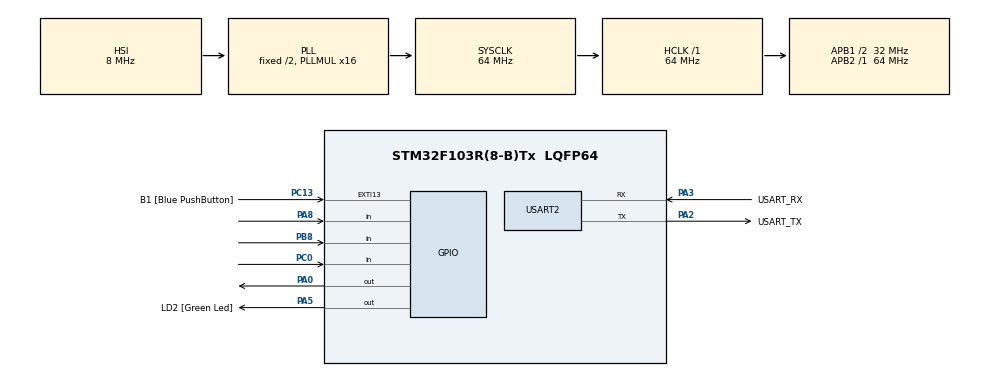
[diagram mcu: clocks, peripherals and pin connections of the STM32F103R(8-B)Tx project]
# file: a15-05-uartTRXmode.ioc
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Mcu.Family=STM32F1
Mcu.Name=STM32F103R(8-B)Tx
Mcu.Package=LQFP64
NVIC.EXTI15_10_IRQn=true\:0\:0\:false\:false\:true\:true\:true
NVIC.PriorityGroup=NVIC_PRIORITYGROUP_4
NVIC.TIM2_IRQn=true\:0\:0\:false\:false\:true\:true\:true
NVIC.TIM3_IRQn=true\:0\:0\:false\:false\:true\:true\:true
PA0-WKUP.Signal=GPIO_Output
PA13.GPIO_Label=TMS
PA13.Mode=Serial_Wire
PA13.Signal=SYS_JTMS-SWDIO
PA14.GPIO_Label=TCK
PA14.Mode=Serial_Wire
PA14.Signal=SYS_JTCK-SWCLK
PA2.GPIO_Label=USART_TX
PA2.GPIO_Mode=GPIO_MODE_AF_PP
PA2.GPIO_PuPd=GPIO_NOPULL
PA2.GPIO_Speed=GPIO_SPEED_FREQ_LOW
PA2.Mode=Asynchronous
PA2.Signal=USART2_TX
PA3.GPIO_Label=USART_RX
PA3.GPIO_Mode=GPIO_MODE_AF_PP
PA3.GPIO_PuPd=GPIO_NOPULL
PA3.GPIO_Speed=GPIO_SPEED_FREQ_LOW
PA3.Mode=Asynchronous
PA3.Signal=USART2_RX
PA5.GPIO_Label=LD2 [Green Led]
PA5.GPIO_ModeDefaultOutputPP=GPIO_MODE_OUTPUT_PP
PA5.GPIO_PuPd=GPIO_NOPULL
PA5.GPIO_Speed=GPIO_SPEED_FREQ_LOW
PA5.Signal=GPIO_Output
PA8.Signal=GPIO_Input
PB3.GPIO_Label=SWO
PB3.Signal=SYS_JTDO-TRACESWO
PB8.Signal=GPIO_Input
PC0.Signal=GPIO_Input
PC13-TAMPER-RTC.GPIO_Label=B1 [Blue PushButton]
PC13-TAMPER-RTC.GPIO_PuPd=GPIO_NOPULL
PC13-TAMPER-RTC.Signal=GPXTI13
PC14-OSC32_IN.Mode=LSE-External-Oscillator
PC14-OSC32_IN.Signal=RCC_OSC32_IN
PC15-OSC32_OUT.Mode=LSE-External-Oscillator
PC15-OSC32_OUT.Signal=RCC_OSC32_OUT
PD0-OSC_IN.Mode=HSE-External-Clock-Source
PD0-OSC_IN.Signal=RCC_OSC_IN
PD1-OSC_OUT.Mode=HSE-External-Clock-Source
PD1-OSC_OUT.Signal=RCC_OSC_OUT
ProjectManager.HeapSize=0x200
ProjectManager.StackSize=0x400
ProjectManager.TargetToolchain=STM32CubeIDE
RCC.AHBFreq_Value=64000000
RCC.APB1CLKDivider=RCC_HCLK_DIV2
RCC.APB1Freq_Value=32000000
RCC.APB1TimFreq_Value=64000000
RCC.APB2Freq_Value=64000000
RCC.APB2TimFreq_Value=64000000
RCC.HCLKFreq_Value=64000000
RCC.PLLMUL=RCC_PLL_MUL16
RCC.RTCClockSelection=RCC_RTCCLKSOURCE_LSE
RCC.SYSCLKFreq_VALUE=64000000
RCC.SYSCLKSource=RCC_SYSCLKSOURCE_PLLCLK
RCC.USBFreq_Value=64000000
TIM2.Period=103
TIM2.Prescaler=63
TIM3.Period=25
TIM3.Prescaler=63
USART2.VirtualMode=VM_ASYNC
VP_TIM2_VS_ClockSourceINT.Mode=Internal
VP_TIM3_VS_ClockSourceINT.Mode=Internal
board=NUCLEO-F103RB

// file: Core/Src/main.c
/* USER CODE BEGIN Header */
/**
  ******************************************************************************
  * @file           : main.c
  * @brief          : Main program body
  ******************************************************************************
  * @attention
  *
  * <h2><center>&copy; Copyright (c) 2022 STMicroelectronics.
  * All rights reserved.</center></h2>
  *
  * This software component is licensed by ST under BSD 3-Clause license,
  * the "License"; You may not use this file except in compliance with the
  * License. You may obtain a copy of the License at:
  *                        opensource.org/licenses/BSD-3-Clause
  *
  ******************************************************************************
  */
/* USER CODE END Header */

#include "main.h"

/* USER CODE BEGIN Includes */

#include "stdio.h"

//stdio 탑재

/* USER CODE END Includes */

/* USER CODE BEGIN PD */

#ifdef __GNUC__
  /* With GCC/RAISONANCE, small printf (option LD Linker->Libraries->Small printf
     set to 'Yes') calls __io_putchar() */
  #define PUTCHAR_PROTOTYPE int __io_putchar(int ch)
#else
  #define PUTCHAR_PROTOTYPE int fputc(int ch, FILE *f)
#endif /* __GNUC__ */
typedef struct ts_rxType{
	char start;
	unsigned char data;
	char parity;
	char stop;
	char error;
} rxType;
//rx 구조체 정의

//알 수 없는 정의 👍👍

/* USER CODE END PD */

TIM_HandleTypeDef htim2;
TIM_HandleTypeDef htim3;

UART_HandleTypeDef huart2;

/* USER CODE BEGIN PV */

//TX 변수
char Uart_Tx_Parity_Mode;
int tim2_cnt;
char tim2_flag;
char tim2_trigger;
char chUartTxData[32];
//TX END

//RX 변수 시작
char Uart_Rx_Parity_Mode;
rxType rxData[32]; //rxdata를 rx구조체로 정의
int rxByte_cnt;
int rxBit_cnt;
int rxBit_value;
int rxSamp_cnt;
int rxParity_bit;
char Uart_Rx_flag;
char Uart_Rx_active;
char Uart_Rx_Temp;
char Uart_Rx_trigger;
char Uart_Rx_data;
char Uart_Rx_parity;
char Uart_Rx_stop;
//RX END

/* USER CODE END PV */

void SystemClock_Config(void);
static void MX_GPIO_Init(void);
static void MX_USART2_UART_Init(void);
static void MX_TIM2_Init(void);
static void MX_TIM3_Init(void);

/* USER CODE BEGIN 0 */

PUTCHAR_PROTOTYPE
{
  /* Place your implementation of fputc here */
  /* e.g. write a character to the EVAL_COM1 and Loop until the end of transmission */
  HAL_UART_Transmit(&huart2, (uint8_t *)&ch, 1, 0xFFFF);

  return ch;
}

void Uart_Tx_Byte(char TxData, char Parity)
{
	char chExit = 'n';
	char chComp = 0x01;
	int ParityBit_cnt = 0;

	tim2_cnt = 0;
	tim2_flag = 'y';
	tim2_trigger = 'n';

	while(1){
		if(('y' == tim2_trigger) && (tim2_cnt == 1)){ // idle
			tim2_trigger = 'n';
			HAL_GPIO_WritePin(GPIOA, GPIO_PIN_0, GPIO_PIN_SET);
		}else if(('y' == tim2_trigger) && (tim2_cnt == 2)){ // start
			tim2_trigger = 'n';
			HAL_GPIO_WritePin(GPIOA, GPIO_PIN_0, GPIO_PIN_RESET);
		}else if(('y' == tim2_trigger) && (tim2_cnt == 3)){ // bit 0
			tim2_trigger = 'n';
			if((TxData & chComp) == chComp){
				HAL_GPIO_WritePin(GPIOA, GPIO_PIN_0, GPIO_PIN_SET);
				ParityBit_cnt += 1;
			}else{
				HAL_GPIO_WritePin(GPIOA, GPIO_PIN_0, GPIO_PIN_RESET);
			}
			chComp <<= 1;
		}else if(('y' == tim2_trigger) && (tim2_cnt == 4)){ // bit 1
			tim2_trigger = 'n';
			if((TxData & chComp) == chComp){
				HAL_GPIO_WritePin(GPIOA, GPIO_PIN_0, GPIO_PIN_SET);
				ParityBit_cnt += 1;
			}else{
				HAL_GPIO_WritePin(GPIOA, GPIO_PIN_0, GPIO_PIN_RESET);
			}
			chComp <<= 1;
		}else if(('y' == tim2_trigger) && (tim2_cnt == 5)){ // bit 2
			tim2_trigger = 'n';
			if((TxData & chComp) == chComp){
				HAL_GPIO_WritePin(GPIOA, GPIO_PIN_0, GPIO_PIN_SET);
				ParityBit_cnt += 1;
			}else{
				HAL_GPIO_WritePin(GPIOA, GPIO_PIN_0, GPIO_PIN_RESET);
			}
			chComp <<= 1;
		}else if(('y' == tim2_trigger) && (tim2_cnt == 6)){ // bit 3
			tim2_trigger = 'n';
			if((TxData & chComp) == chComp){
				HAL_GPIO_WritePin(GPIOA, GPIO_PIN_0, GPIO_PIN_SET);
				ParityBit_cnt += 1;
			}else{
				HAL_GPIO_WritePin(GPIOA, GPIO_PIN_0, GPIO_PIN_RESET);
			}
			chComp <<= 1;
		}else if(('y' == tim2_trigger) && (tim2_cnt == 7)){ // bit 4
			tim2_trigger = 'n';
			if((TxData & chComp) == chComp){
				HAL_GPIO_WritePin(GPIOA, GPIO_PIN_0, GPIO_PIN_SET);
				ParityBit_cnt += 1;
			}else{
				HAL_GPIO_WritePin(GPIOA, GPIO_PIN_0, GPIO_PIN_RESET);
			}
			chComp <<= 1;
		}else if(('y' == tim2_trigger) && (tim2_cnt == 8)){ // bit 5
			tim2_trigger = 'n';
			if((TxData & chComp) == chComp){
				HAL_GPIO_WritePin(GPIOA, GPIO_PIN_0, GPIO_PIN_SET);
				ParityBit_cnt += 1;
			}else{
				HAL_GPIO_WritePin(GPIOA, GPIO_PIN_0, GPIO_PIN_RESET);
			}
			chComp <<= 1;
		}else if(('y' == tim2_trigger) && (tim2_cnt == 9)){ // bit 6
			tim2_trigger = 'n';
			if((TxData & chComp) == chComp){
				HAL_GPIO_WritePin(GPIOA, GPIO_PIN_0, GPIO_PIN_SET);
				ParityBit_cnt += 1;
			}else{
				HAL_GPIO_WritePin(GPIOA, GPIO_PIN_0, GPIO_PIN_RESET);
			}
			chComp <<= 1;
		}else if(('y' == tim2_trigger) && (tim2_cnt == 10)){ // bit 7
			tim2_trigger = 'n';
			if((TxData & chComp) == chComp){
				HAL_GPIO_WritePin(GPIOA, GPIO_PIN_0, GPIO_PIN_SET);
				ParityBit_cnt += 1;
			}else{
				HAL_GPIO_WritePin(GPIOA, GPIO_PIN_0, GPIO_PIN_RESET);
			}
			chComp <<= 1;
		}
		else if(('y' == tim2_trigger) && (tim2_cnt == 11)){ // [parity : none/even/odd] or [stop]
			tim2_trigger = 'n';

			if(Parity == 'n'){
				HAL_GPIO_WritePin(GPIOA, GPIO_PIN_0, GPIO_PIN_SET);
				chExit = 'y';
			}else if(Parity == 'e'){
				if((ParityBit_cnt % 2) == 0){
					HAL_GPIO_WritePin(GPIOA, GPIO_PIN_0, GPIO_PIN_RESET);
				}else{
					HAL_GPIO_WritePin(GPIOA, GPIO_PIN_0, GPIO_PIN_SET);
				}

			}else if(Parity == 'o'){
				if((ParityBit_cnt % 2) == 1){
					HAL_GPIO_WritePin(GPIOA, GPIO_PIN_0, GPIO_PIN_RESET);
				}else{
					HAL_GPIO_WritePin(GPIOA, GPIO_PIN_0, GPIO_PIN_SET);
				}
			}

			//----- 이 부분부터 수정 및 추가 필요 ------------------------------------------
			//----- parity bit & stop bit 전송부분 추가 -------------------------------------

		}else if(('y' == tim2_trigger) && (tim2_cnt == 12)){ // stop

			//----- 이 부분부터 수정 및 추가 필요 ------------------------------------------
			//----- parity bit & stop bit 전송부분 추가 -------------------------------------

			HAL_GPIO_WritePin(GPIOA, GPIO_PIN_0, GPIO_PIN_SET);
			chExit = 'y';

		}
		if(('y' == tim2_trigger) && ('y' == chExit)){
			tim2_trigger = 'n';
			tim2_flag = 'n';
			break;
		}
	}
}//end of tx byte

int Uart_Tx_multiByte(int Tx_cnt, char* TxData, char Parity)
{
	int m;

	for(m = 0; m < Tx_cnt; m++){
		Uart_Tx_Byte(TxData[m], Parity);
	}

	return(0);
}//end of tx multi byte

//타이머 인터럽트 발생🎨🖼🎨🖼
void HAL_TIM_PeriodElapsedCallback(TIM_HandleTypeDef *htim)
{
	//타이머 2 실행 확인
	if(htim->Instance == htim2.Instance){
		//HAL_GPIO_TogglePin(GPIOA, GPIO_PIN_0);
		if('y' == tim2_flag){
			//timer flag yes라면
			tim2_cnt += 1; //카운터 1 추가
			tim2_trigger = 'y'; //trigger yes로 변경
		}
	}

	if(htim->Instance == htim3.Instance){
		if('y' == Uart_Rx_flag){
			if('n' == Uart_Rx_active){
				//Rx가 active하지 않을 떄는 Temp에 값을 받아옴.
				Uart_Rx_Temp <<= 1; // 값을 하나씩 밀어서 저장
				if(GPIO_PIN_SET == HAL_GPIO_ReadPin(GPIOC, GPIO_PIN_0)){
					Uart_Rx_Temp += 1; //값이 true면 오른쪽 비트에 1을 씀
				}
				if((Uart_Rx_Temp & 0x0f) == 0x0c){
					//쭉 보다보니 Temp에 들어온 값이 1100일 때 스타트로 인식
					Uart_Rx_active = 'y'; //active yes로 만듬
					Uart_Rx_Temp = 0x00; //temp 값을 비움
					rxByte_cnt += 1; //바이트 하나를 셈
					rxData[rxByte_cnt].start = 'y'; //start yes
					rxData[rxByte_cnt].data = 0x00; //data 0x00
					rxData[rxByte_cnt].parity = 'n'; //parity n
					rxData[rxByte_cnt].stop = 'x'; //stop x
					rxBit_cnt = 0; //bit count 0
					rxSamp_cnt = 0; // Sample count 0
					rxParity_bit = 0; //parity 0
					Uart_Rx_trigger = 'n'; //trigger no
					Uart_Rx_data = 'n'; //data no
					Uart_Rx_parity = 'n'; //parity none
					Uart_Rx_stop = 'n'; //stop no
				}
			}else{ //114번 줄에서 y로 바뀜
				Uart_Rx_trigger = 'n'; //trigger no c125에서도 no로 만듬
				rxSamp_cnt += 1;
				if((rxSamp_cnt % 4) == 0){
					//샘플링 4번 하고
					Uart_Rx_trigger = 'y'; //그러면 trigger yes로 만듬
					if(GPIO_PIN_SET == HAL_GPIO_ReadPin(GPIOC, GPIO_PIN_0)){
						rxBit_value = 1;
						//만약 값이 들어오면 bit value 1로
					}else{
						rxBit_value = 0;
						//안들어오면 0으로
					}
					rxBit_cnt += 1;
					//비트 카운터를 1 더함
					if((1 <= rxBit_cnt) && (rxBit_cnt <= 8)){
						//비트 카운터가 1부터 8일 때는
						Uart_Rx_data = 'y'; //data를 y로 만듬
					//---
					}else if(9 == rxBit_cnt){
						//비트 카운터가 9라면
						Uart_Rx_data = 'n'; //data 가 n이ㅣ됨
						if('n' == Uart_Rx_Parity_Mode){
							//패리티가 n이라면
							Uart_Rx_parity = 'n'; //parity no
							Uart_Rx_stop = 'y'; //stop yes
						}else if('e' == Uart_Rx_Parity_Mode){
							//패리티가 e라면
							Uart_Rx_parity = 'y'; //parity yes
						}else if('o' == Uart_Rx_Parity_Mode){
							Uart_Rx_parity = 'y'; //parity yes
						}
					}else if(10 == rxBit_cnt){
						Uart_Rx_parity = 'n'; //parity no
						Uart_Rx_stop = 'y'; //stop yes!
					}
					//---
					/*
					else if(9 == rxBit_cnt){
						Uart_Rx_data = 'n';
						Uart_Rx_parity = 'y';

						//----- pairyt bit 異붽? ----------------------

					}else if(10 == rxBit_cnt){
						Uart_Rx_parity = 'n';
						Uart_Rx_stop = 'y';

						//----- stop bit 異붽? ----------------------

					}
					*/
				}
				if(('y' == Uart_Rx_trigger) && ('y' == Uart_Rx_data)){
					//만약 trigger yes에 (만약 데이터를 샘플링 했다면 yes가 됨)
					//data yes라면 실행
					rxData[rxByte_cnt].data >>= 1; //해당 struct.data를 오른쪽으로 1만큼 밀음
					if(1 == rxBit_value){
						//비트 value가 1이라면
						rxData[rxByte_cnt].data += 0x80;
						//데이터 맨 왼쪽에 1을 씀
						rxParity_bit += 1;
						//패리티 비트 갯수를 1로 더함;
					}
				}
				if(('y' == Uart_Rx_trigger) && ('y' == Uart_Rx_parity)){
					//trigger yes고 parity yes라면
					//---
					if('e' == Uart_Rx_Parity_Mode){
						//패리티가 e라면
						if(((rxParity_bit % 2) == 0) && (0 == rxBit_value)){
							//만약 패리티 비트 갯수가 짝수고, bitvalue가 더이상 없다면
							rxData[rxByte_cnt].parity = 'e'; //패리티는 e다
						}else if(((rxParity_bit % 2) == 1) && (1 == rxBit_value)){
							//만약 비트 갯수가 홀수고 bitvalue가 하나 있다면
							rxData[rxByte_cnt].parity = 'e';//e다
						}else{
							rxData[rxByte_cnt].parity = 'f'; //아니면 f
						}
					}else if('o' == Uart_Rx_Parity_Mode){
						//만약 parity가 o라면
						if(((rxParity_bit % 2) == 0) && (1 == rxBit_value)){
							//짝수개고 bitvalue가 하나 남았으면
							rxData[rxByte_cnt].parity = 'o'; //o다

						}else if(((rxParity_bit % 2) == 1) && (0 == rxBit_value)){
							//홀수개인데 비트 밸류가 남지 않았다면
							rxData[rxByte_cnt].parity = 'o'; //o다
						}else{
							rxData[rxByte_cnt].parity = 'f'; //아니면 f다
						}
					}
					/*
					else if('n' == Uart_Rx_Parity_Mode){
						//패리티가 n이면
						if(((rxParity_bit % 2) == 0) && (1 == rxBit_value)){
							rxData[rxByte_cnt].parity = 'o';
						}else if(((rxParity_bit % 2) == 1) && (0 == rxBit_value)){
							rxData[rxByte_cnt].parity = 'o';
						}else{
							rxData[rxByte_cnt].parity = 'f';
						}
					}
					*/
					//---

					//----- pairyt bit 異붽? ----------------------

				}
				if(('y' == Uart_Rx_trigger) && ('y' == Uart_Rx_stop)){
					//만약 trigger yes인데 stop도 yes라면
					//---
					Uart_Rx_active = 'n';
					//active no로 하고
					if(1 == rxBit_value){
						//bitvalue가 1이라면
						rxData[rxByte_cnt].stop = 'y';
						//멈추자
					}else{
						rxData[rxByte_cnt].stop = 'n';
						//멈추지마
					}
					//---

					//Uart_Rx_active = 'n';
					//----- stop bit 수정----------------------

				}
			}
		}
	}
}

/* USER CODE END 0 */

int main(void)
{
  /* USER CODE BEGIN 1 */
	HAL_StatusTypeDef tim3_it_start;
	HAL_StatusTypeDef tim2_it_start;
	GPIO_PinState pc13pin;
	GPIO_PinState pa8pin, pb8pin;

	//나중에 쓸 변수 미리 정의

	int m; //굳이 for문 m을 밖에 선언 (아마 초기화할 생각이 없는듯)

  /* USER CODE END 1 */

  /* MCU Configuration--------------------------------------------------------*/

  /* Reset of all peripherals, Initializes the Flash interface and the Systick. */
  HAL_Init();

  /* Configure the system clock */
  SystemClock_Config();

  /* Initialize all configured peripherals */
  MX_GPIO_Init();
  MX_USART2_UART_Init();
  MX_TIM2_Init();
  MX_TIM3_Init();
  /* USER CODE BEGIN 2 */

	//수신부 초기화 🎁🎁🎁
	Uart_Rx_Parity_Mode = 'n'; // 'n':none, 'e':even, 'o':odd
  rxByte_cnt = 0;
  rxBit_cnt = 0;
  rxSamp_cnt = 0;
  Uart_Rx_flag = 'n';
  Uart_Rx_active = 'n';
  Uart_Rx_Temp = 0x00;

	//송신부 초기화 ✨✨✨✨
  Uart_Tx_Parity_Mode = 'n'; // 'n':none, 'e':even, 'o':odd
  tim2_cnt = 0;
  tim2_flag = 'n';
  tim2_trigger = 'n';
  HAL_GPIO_WritePin(GPIOA, GPIO_PIN_0, GPIO_PIN_SET); //tx idle시 high이기 때문

  tim3_it_start = HAL_TIM_Base_Start_IT(&htim3); //rx 타이머
  tim2_it_start = HAL_TIM_Base_Start_IT(&htim2); //tx 타이머
  if((HAL_OK == tim3_it_start) && (HAL_OK == tim2_it_start)){
	  printf("HAL_TIM_Base_Start_IT OK\r\n");
  }else{
	  printf("HAL_TIM_Base_Start_IT error\r\n");
  }

  chUartTxData[0] = 'a';
  //tx data 0번 프리셋 a로 초기화

  //-----uart rx mode : start-----
  Uart_Rx_flag = 'y'; //flag는 yes다
  Uart_Rx_active = 'n'; //active는 no 아직 시작안한듯 나중에 바이트 받은게 있는데 active no면 받은 값을 출력

  /* USER CODE END 2 */

  /* Infinite loop */
  while (1)
  {
	  //패리티 입력을 데이터로 전환! ✔✔🎈🎈🎈
	  pa8pin = HAL_GPIO_ReadPin(GPIOA, GPIO_PIN_8); //a8 핀 체크
	  pb8pin = HAL_GPIO_ReadPin(GPIOB, GPIO_PIN_8); //b8 핀 체크
	  if((GPIO_PIN_SET == pa8pin) && (GPIO_PIN_RESET == pb8pin)){
		  //a8 high b8 low면
		  Uart_Tx_Parity_Mode = 'e'; //Tx와 Rx Parity even으로
		  Uart_Rx_Parity_Mode = 'e';
	  }else if((GPIO_PIN_RESET == pa8pin) && (GPIO_PIN_SET == pb8pin)){
		  //a8 low b8 high면
		  Uart_Tx_Parity_Mode = 'o'; //Tx Rx Parity odd로 변경
		  Uart_Rx_Parity_Mode = 'o';
	  }else{
		  Uart_Tx_Parity_Mode = 'n'; //둘다 아니면 n
		  Uart_Rx_Parity_Mode = 'n';
	  }

		pc13pin = HAL_GPIO_ReadPin(GPIOC, GPIO_PIN_13); //파란 버튼 상태 읽기
	  if(GPIO_PIN_RESET == pc13pin){
		  //파란 버튼이 low라면 -> 하단 코드에서 데이터를 발송
		  Uart_Tx_Byte(chUartTxData[0], Uart_Tx_Parity_Mode);
		  //Data[0]과 parity 상태를 보냄
		  printf("-a15-sendByte-Uart_Tx_Byte=%c[0x%02x]---parity=%c---\r\n",chUartTxData[0],chUartTxData[0],Uart_Tx_Parity_Mode);
		  //데이터를 출력 (data[0], paritymode)
		  if('z' == chUartTxData[0]){
			  //만약 data[0]이 'z'라면
			  chUartTxData[0] = 'a'; //data를 'a'로 바꿈
		  }else{
			  chUartTxData[0] += 1;
			  //z가 아니면 1씩 올림
		  }
	  }

	  //입력받는 코드
	  if(('n' == Uart_Rx_active) && (1 <= rxByte_cnt)){
		  //Rx-active가 no일 때, 받은 Byte 갯수가 1개보다 많거나 같다면
		  for(m = 1; m <= rxByte_cnt; m++){
			  //객체 1번부터, byte 카운터까지 반복 1~9면 9번
			  printf("a15----rx:%c---data[%d]=0x%02x,parity=%c,stop=%c\r\n",Uart_Rx_Parity_Mode,m,rxData[m].data,rxData[m].parity,rxData[m].stop);
			  //rx parity 상태, rx data[m]의 data, rxdata[m]의 parity, rxdata[m]의 stop 여부
		  }
		  rxByte_cnt = 0;
		  //byte 카운터를 0으로 만듬
	  }

	  HAL_Delay(50);
	  HAL_GPIO_TogglePin(GPIOA, GPIO_PIN_5); //a5핀 토글 (값 반대로 변경)

	  //여기 아래로는 while문 종료

  }
}

void SystemClock_Config(void)
{
  RCC_OscInitTypeDef RCC_OscInitStruct = {0};
  RCC_ClkInitTypeDef RCC_ClkInitStruct = {0};

  /** Initializes the CPU, AHB and APB busses clocks
  */
  RCC_OscInitStruct.OscillatorType = RCC_OSCILLATORTYPE_HSI;
  RCC_OscInitStruct.HSIState = RCC_HSI_ON;
  RCC_OscInitStruct.HSICalibrationValue = RCC_HSICALIBRATION_DEFAULT;
  RCC_OscInitStruct.PLL.PLLState = RCC_PLL_ON;
  RCC_OscInitStruct.PLL.PLLSource = RCC_PLLSOURCE_HSI_DIV2;
  RCC_OscInitStruct.PLL.PLLMUL = RCC_PLL_MUL16;
  if (HAL_RCC_OscConfig(&RCC_OscInitStruct) != HAL_OK)
  {
    Error_Handler();
  }
  /** Initializes the CPU, AHB and APB busses clocks
  */
  RCC_ClkInitStruct.ClockType = RCC_CLOCKTYPE_HCLK|RCC_CLOCKTYPE_SYSCLK
                              |RCC_CLOCKTYPE_PCLK1|RCC_CLOCKTYPE_PCLK2;
  RCC_ClkInitStruct.SYSCLKSource = RCC_SYSCLKSOURCE_PLLCLK;
  RCC_ClkInitStruct.AHBCLKDivider = RCC_SYSCLK_DIV1;
  RCC_ClkInitStruct.APB1CLKDivider = RCC_HCLK_DIV2;
  RCC_ClkInitStruct.APB2CLKDivider = RCC_HCLK_DIV1;

  if (HAL_RCC_ClockConfig(&RCC_ClkInitStruct, FLASH_LATENCY_2) != HAL_OK)
  {
    Error_Handler();
  }
}

static void MX_TIM2_Init(void)
{

  TIM_ClockConfigTypeDef sClockSourceConfig = {0};
  TIM_MasterConfigTypeDef sMasterConfig = {0};

  htim2.Instance = TIM2;
  htim2.Init.Prescaler = 63;
  htim2.Init.CounterMode = TIM_COUNTERMODE_UP;
  htim2.Init.Period = 103;
  htim2.Init.ClockDivision = TIM_CLOCKDIVISION_DIV1;
  htim2.Init.AutoReloadPreload = TIM_AUTORELOAD_PRELOAD_DISABLE;
  if (HAL_TIM_Base_Init(&htim2) != HAL_OK)
  {
    Error_Handler();
  }
  sClockSourceConfig.ClockSource = TIM_CLOCKSOURCE_INTERNAL;
  if (HAL_TIM_ConfigClockSource(&htim2, &sClockSourceConfig) != HAL_OK)
  {
    Error_Handler();
  }
  sMasterConfig.MasterOutputTrigger = TIM_TRGO_RESET;
  sMasterConfig.MasterSlaveMode = TIM_MASTERSLAVEMODE_DISABLE;
  if (HAL_TIMEx_MasterConfigSynchronization(&htim2, &sMasterConfig) != HAL_OK)
  {
    Error_Handler();
  }

}

static void MX_TIM3_Init(void)
{

  TIM_ClockConfigTypeDef sClockSourceConfig = {0};
  TIM_MasterConfigTypeDef sMasterConfig = {0};

  htim3.Instance = TIM3;
  htim3.Init.Prescaler = 63;
  htim3.Init.CounterMode = TIM_COUNTERMODE_UP;
  htim3.Init.Period = 25;
  htim3.Init.ClockDivision = TIM_CLOCKDIVISION_DIV1;
  htim3.Init.AutoReloadPreload = TIM_AUTORELOAD_PRELOAD_DISABLE;
  if (HAL_TIM_Base_Init(&htim3) != HAL_OK)
  {
    Error_Handler();
  }
  sClockSourceConfig.ClockSource = TIM_CLOCKSOURCE_INTERNAL;
  if (HAL_TIM_ConfigClockSource(&htim3, &sClockSourceConfig) != HAL_OK)
  {
    Error_Handler();
  }
  sMasterConfig.MasterOutputTrigger = TIM_TRGO_RESET;
  sMasterConfig.MasterSlaveMode = TIM_MASTERSLAVEMODE_DISABLE;
  if (HAL_TIMEx_MasterConfigSynchronization(&htim3, &sMasterConfig) != HAL_OK)
  {
    Error_Handler();
  }

}

static void MX_USART2_UART_Init(void)
{

  huart2.Instance = USART2;
  huart2.Init.BaudRate = 115200;
  huart2.Init.WordLength = UART_WORDLENGTH_8B;
  huart2.Init.StopBits = UART_STOPBITS_1;
  huart2.Init.Parity = UART_PARITY_NONE;
  huart2.Init.Mode = UART_MODE_TX_RX;
  huart2.Init.HwFlowCtl = UART_HWCONTROL_NONE;
  huart2.Init.OverSampling = UART_OVERSAMPLING_16;
  if (HAL_UART_Init(&huart2) != HAL_OK)
  {
    Error_Handler();
  }

}

static void MX_GPIO_Init(void)
{
  GPIO_InitTypeDef GPIO_InitStruct = {0};

  /* GPIO Ports Clock Enable */
  __HAL_RCC_GPIOC_CLK_ENABLE();
  __HAL_RCC_GPIOD_CLK_ENABLE();
  __HAL_RCC_GPIOA_CLK_ENABLE();
  __HAL_RCC_GPIOB_CLK_ENABLE();

  /*Configure GPIO pin Output Level */
  HAL_GPIO_WritePin(GPIOA, GPIO_PIN_0|LD2_Pin, GPIO_PIN_RESET);

  /*Configure GPIO pin : B1_Pin */
  GPIO_InitStruct.Pin = B1_Pin;
  GPIO_InitStruct.Mode = GPIO_MODE_IT_RISING;
  GPIO_InitStruct.Pull = GPIO_NOPULL;
  HAL_GPIO_Init(B1_GPIO_Port, &GPIO_InitStruct);

  /*Configure GPIO pin : PC0 */
  GPIO_InitStruct.Pin = GPIO_PIN_0;
  GPIO_InitStruct.Mode = GPIO_MODE_INPUT;
  GPIO_InitStruct.Pull = GPIO_NOPULL;
  HAL_GPIO_Init(GPIOC, &GPIO_InitStruct);

  /*Configure GPIO pins : PA0 LD2_Pin */
  GPIO_InitStruct.Pin = GPIO_PIN_0|LD2_Pin;
  GPIO_InitStruct.Mode = GPIO_MODE_OUTPUT_PP;
  GPIO_InitStruct.Pull = GPIO_NOPULL;
  GPIO_InitStruct.Speed = GPIO_SPEED_FREQ_LOW;
  HAL_GPIO_Init(GPIOA, &GPIO_InitStruct);

  /*Configure GPIO pin : PA8 */
  GPIO_InitStruct.Pin = GPIO_PIN_8;
  GPIO_InitStruct.Mode = GPIO_MODE_INPUT;
  GPIO_InitStruct.Pull = GPIO_NOPULL;
  HAL_GPIO_Init(GPIOA, &GPIO_InitStruct);

  /*Configure GPIO pin : PB8 */
  GPIO_InitStruct.Pin = GPIO_PIN_8;
  GPIO_InitStruct.Mode = GPIO_MODE_INPUT;
  GPIO_InitStruct.Pull = GPIO_NOPULL;
  HAL_GPIO_Init(GPIOB, &GPIO_InitStruct);

  /* EXTI interrupt init*/
  HAL_NVIC_SetPriority(EXTI15_10_IRQn, 0, 0);
  HAL_NVIC_EnableIRQ(EXTI15_10_IRQn);

}

void Error_Handler(void)
{
}

/************************ (C) COPYRIGHT STMicroelectronics *****END OF FILE****/
